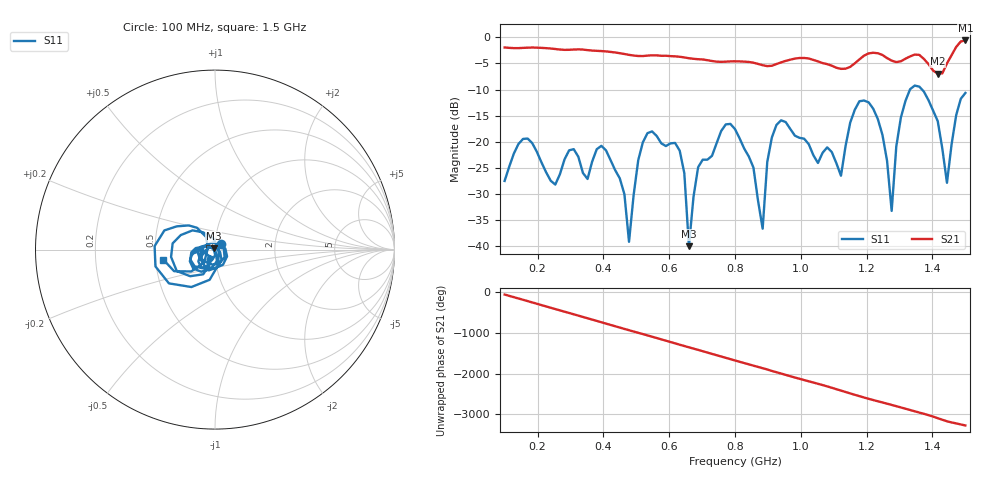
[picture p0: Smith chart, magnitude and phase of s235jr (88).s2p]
! NanoVNA-App
! Date: 2025-09-25 15:04:51
! Start: 100MHz Stop: 1,5GHz Points: 101
! S-Parameter data: F S11 S21 S12 S22
# Hz S RI R 50
!  Frequency  S11_Real  S11_Imag  S21_Real  S21_Imag  S12_Real  S12_Imag  S22_Real  S22_Imag
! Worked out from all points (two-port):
!   101 points, 100 MHz to 1.5 GHz, reference 50 ohm
!   highest |S21| = -0.62 dB at 1.5 GHz (marker M1); lowest = -7.0 dB at 1.416 GHz (marker M2)
!   |S21| within 3 dB of the highest: start of sweep to 606 MHz; 1.19 GHz to 1.253 GHz (63 MHz wide, 5.16 % of centre) (the widest 2 of 4)
!   lowest |S11| = -40.0 dB at 660 MHz (marker M3), VSWR 1.02, Z = 49.2 + j0.633 ohm
!   |S11| at or under -10 dB: start of sweep to 1.332 GHz; 1.368 GHz to end of sweep
!   S12 and S22 are empty: the file has one direction only
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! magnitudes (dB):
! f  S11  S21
! 100 MHz  -27.5  -2.0
! 156 MHz  -19.5  -2.0
! 338 MHz  -26.0  -2.4
! 408 MHz  -21.6  -2.7
! 478 MHz  -39.1  -3.4
! 520 MHz  -20.1  -3.6
! 576 MHz  -20.3  -3.6
! 632 MHz  -21.7  -3.7
! 660 MHz  -40.0  -4.0
! 688 MHz  -24.9  -4.2
! 800 MHz  -17.6  -4.6
! 884 MHz  -36.6  -5.4
! 926 MHz  -16.8  -5.1
! 1.038 GHz  -22.6  -4.3
! 1.122 GHz  -26.5  -6.1
! 1.206 GHz  -12.4  -3.1
! 1.276 GHz  -33.2  -4.5
! 1.29 GHz  -20.9  -4.8
! 1.332 GHz  -9.9  -3.7
! 1.416 GHz  -16.0  -7.0
! 1.444 GHz  -27.8  -5.0
! 1.5 GHz  -10.7  -0.6
